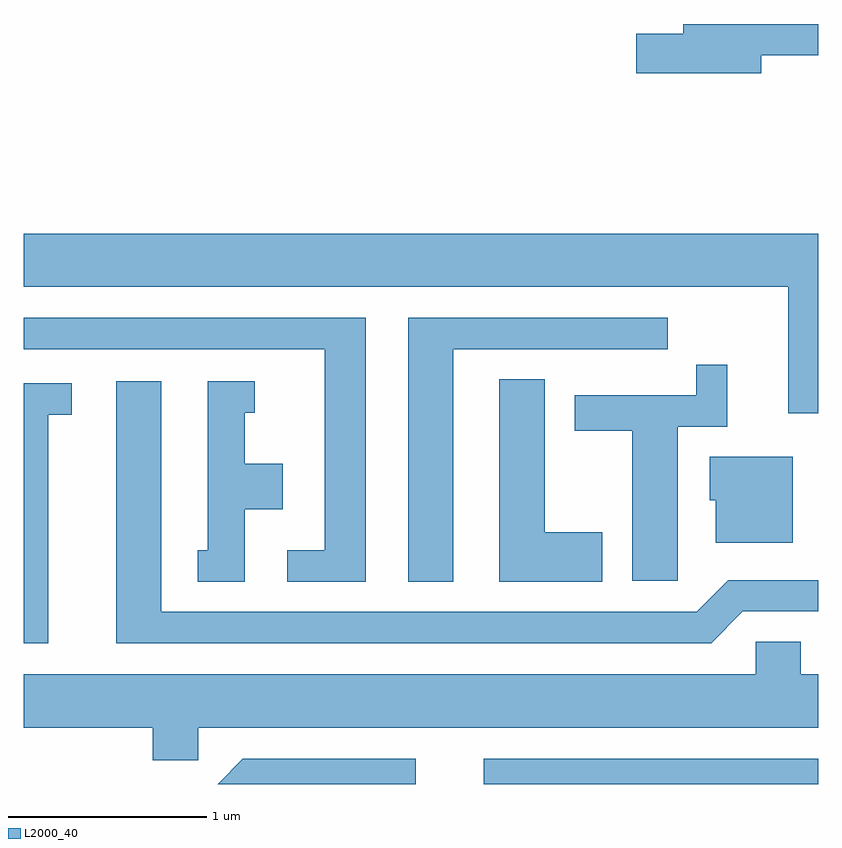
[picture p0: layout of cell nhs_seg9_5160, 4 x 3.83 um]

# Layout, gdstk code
import gdstk
lib = gdstk.Library(unit=1e-6, precision=1e-09)
def R(c, l, rs):  # rectangles x0, y0, x1, y1
    for r in rs: c.add(gdstk.rectangle(r[:2], r[2:], *l))
def P(c, l, *ps):  # polygons
    for p in ps: c.add(gdstk.Polygon(p, *l))
L2000_40 = (2000, 40)

nhs_seg9_5160 = lib.new_cell('nhs_seg9_5160')
R(nhs_seg9_5160, L2000_40, [(339.926,1980.432,341.611,1980.559)])
P(nhs_seg9_5160, L2000_40, [(341.324,1984.101),(341.611,1984.101),(341.611,1984.259),(340.931,1984.259),(340.931,1984.209),(340.696,1984.209),(340.696,1984.011),(341.324,1984.011)],
  [(341.611,1983.204),(337.611,1983.204),(337.611,1982.936),(341.461,1982.936),(341.461,1982.298),(341.611,1982.298)],
  [(339.334,1982.779),(337.611,1982.779),(337.611,1982.621),(339.126,1982.621),(339.126,1981.609),(338.938,1981.609),(338.938,1981.451),(339.334,1981.451)],
  [(339.774,1982.621),(340.853,1982.621),(340.853,1982.779),(339.546,1982.779),(339.546,1981.451),(339.774,1981.451)],
  [(340.904,1982.231),(341.154,1982.231),(341.154,1982.543),(340.996,1982.543),(340.996,1982.389),(340.386,1982.389),(340.386,1982.211),(340.676,1982.211),(340.676,1981.456),(340.904,1981.456)],
  [(340.524,1981.699),(340.234,1981.699),(340.234,1982.469),(340.006,1982.469),(340.006,1981.451),(340.524,1981.451)],
  [(338.724,1981.816),(338.914,1981.816),(338.914,1982.044),(338.724,1982.044),(338.724,1982.301),(338.773,1982.301),(338.773,1982.459),(338.536,1982.459),(338.536,1981.609),(338.488,1981.609),(338.488,1981.451),(338.724,1981.451)],
  [(341.232,1981.301),(341.611,1981.301),(341.611,1981.459),(341.159,1981.459),(340.999,1981.299),(338.304,1981.299),(338.304,1982.459),(338.076,1982.459),(338.076,1981.141),(341.072,1981.141)],
  [(337.734,1982.291),(337.853,1982.291),(337.853,1982.449),(337.611,1982.449),(337.611,1981.141),(337.734,1981.141)],
  [(341.484,1982.079),(341.066,1982.079),(341.066,1981.861),(341.096,1981.861),(341.096,1981.646),(341.484,1981.646)],
  [(338.489,1980.716),(341.611,1980.716),(341.611,1980.984),(341.524,1980.984),(341.524,1981.149),(341.296,1981.149),(341.296,1980.984),(337.611,1980.984),(337.611,1980.716),(338.261,1980.716),(338.261,1980.551),(338.489,1980.551)],
  [(339.584,1980.559),(338.714,1980.559),(338.587,1980.432),(339.584,1980.432)])

lib.write_gds('nhs_seg9_5160.gds')
